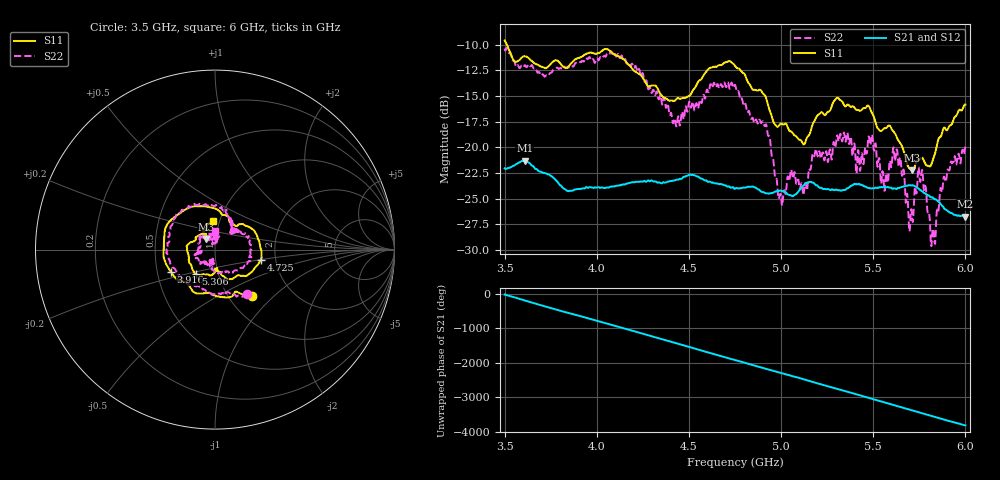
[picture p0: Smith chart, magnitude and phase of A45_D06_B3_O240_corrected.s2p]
! Created with skrf 1.9.0 (http://scikit-rf.org).
# Hz S RI R 50.0
!freq ReS11 ImS11 ReS21 ImS21 ReS12 ImS12 ReS22 ImS22
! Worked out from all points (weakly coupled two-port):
!   1601 points, 3.5 GHz to 6 GHz, reference 50 ohm
!   highest |S21| = -21.31 dB at 3.609 GHz (marker M1); lowest = -26.8 dB at 5.998 GHz (marker M2)
!   lowest |S11| = -22.3 dB at 5.713 GHz (marker M3), VSWR 1.17, Z = 45 + j5.4 ohm
!   |S11| at or under -10 dB: 3.512 GHz to end of sweep
!   |S22| runs from -29.6 to -10.3 dB; largest |S21 - S12| = 0.00094
!   S11 on the Smith chart (normalised r, x): 3.5 GHz: 1.27, -0.74; 3.916 GHz: 0.59, -0.16; 4.725 GHz: 1.67, -0.20; 5.306 GHz: 0.78, -0.22; 6 GHz: 0.93, +0.31
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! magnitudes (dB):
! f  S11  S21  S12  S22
! 3.5 GHz  -9.6  -22.1  -22.0  -10.4
! 3.609 GHz  -11.1  -21.3  -21.3  -12.0
! 3.916 GHz  -11.2  -24.1  -24.0  -11.7
! 3.917 GHz  -11.2  -24.0  -24.0  -11.7
! 4.125 GHz  -11.2  -23.7  -23.7  -11.3
! 4.334 GHz  -14.4  -23.4  -23.4  -15.3
! 4.441 GHz  -15.2  -23.2  -23.1  -17.1
! 4.725 GHz  -11.6  -23.9  -23.8  -14.1
! 4.75 GHz  -12.1  -24.1  -24.0  -13.9
! 4.914 GHz  -15.0  -24.5  -24.4  -17.9
! 4.997 GHz  -17.7  -24.2  -24.2  -24.6
! 5.167 GHz  -18.0  -23.4  -23.4  -21.1
! 5.306 GHz  -15.2  -24.2  -24.1  -18.9
! 5.486 GHz  -16.4  -24.0  -23.9  -19.7
! 5.584 GHz  -17.9  -23.9  -23.9  -22.5
! 5.636 GHz  -19.3  -24.0  -23.9  -21.5
! 5.713 GHz  -22.3  -23.7  -23.6  -27.1
! 5.756 GHz  -21.1  -24.2  -24.1  -23.4
! 5.825 GHz  -21.2  -24.9  -24.9  -27.9
! 5.875 GHz  -18.5  -25.7  -25.6  -24.2
! 5.998 GHz  -15.8  -26.8  -26.7  -20.0
! 6 GHz  -15.8  -26.7  -26.7  -19.8
